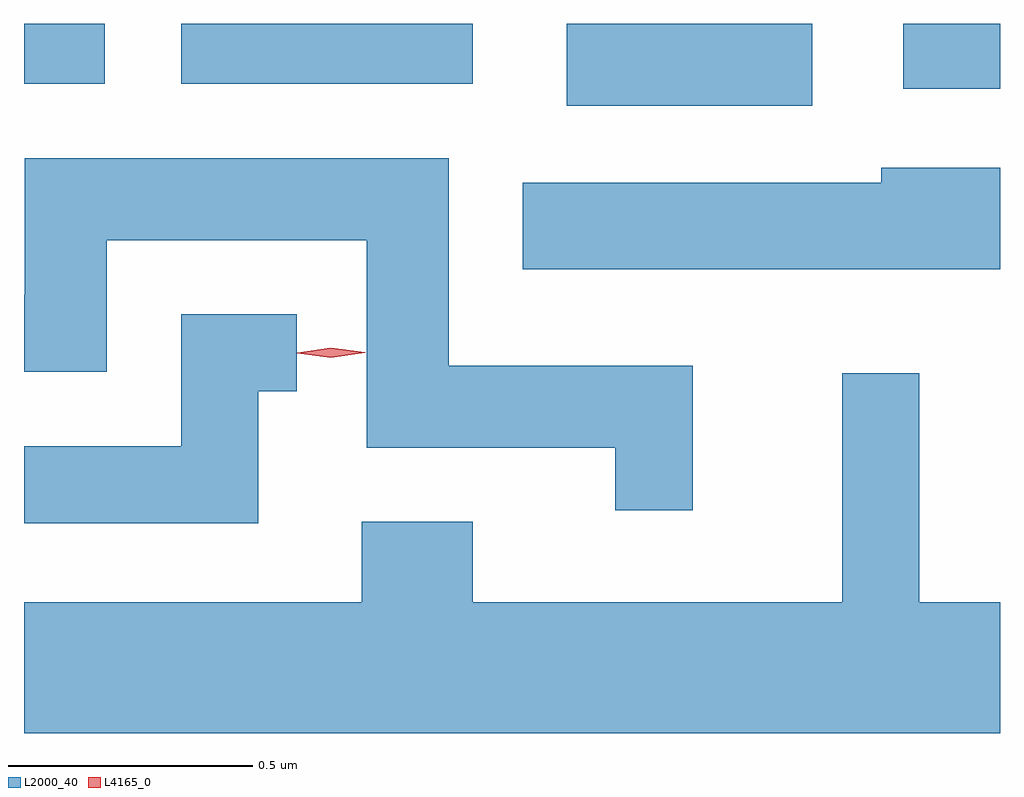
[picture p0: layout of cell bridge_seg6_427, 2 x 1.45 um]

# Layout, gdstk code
import gdstk
lib = gdstk.Library(unit=1e-6, precision=1e-09)
def R(c, l, rs):  # rectangles x0, y0, x1, y1
    for r in rs: c.add(gdstk.rectangle(r[:2], r[2:], *l))
def P(c, l, *ps):  # polygons
    for p in ps: c.add(gdstk.Polygon(p, *l))
L2000_40 = (2000, 40)
L4165_0 = (4165, 0)

bridge_seg6_427 = lib.new_cell('bridge_seg6_427')
R(bridge_seg6_427, L2000_40, [(930.941,1666.761,931.444,1666.929), (931.631,1666.796,931.829,1666.929), (929.829,1666.806,929.994,1666.929), (930.151,1666.806,930.749,1666.929)])
P(bridge_seg6_427, L2000_40, [(931.199,1666.229),(930.699,1666.229),(930.699,1666.654),(929.831,1666.654),(929.831,1666.374),(929.829,1666.374),(929.829,1666.216),(929.999,1666.216),(929.999,1666.486),(930.531,1666.486),(930.531,1666.061),(931.041,1666.061),(931.041,1665.933),(931.199,1665.933)],
  [(931.829,1666.634),(931.586,1666.634),(931.586,1666.604),(930.851,1666.604),(930.851,1666.426),(931.829,1666.426)],
  [(930.309,1666.176),(930.388,1666.176),(930.388,1666.334),(930.151,1666.334),(930.151,1666.064),(929.829,1666.064),(929.829,1665.906),(930.309,1665.906)],
  [(931.829,1665.744),(931.664,1665.744),(931.664,1666.213),(931.506,1666.213),(931.506,1665.744),(930.749,1665.744),(930.749,1665.909),(930.521,1665.909),(930.521,1665.744),(929.829,1665.744),(929.829,1665.476),(931.829,1665.476)])
P(bridge_seg6_427, L4165_0, [(930.458,1666.245),(930.389,1666.254),(930.389,1666.255),(930.389,1666.255),(930.458,1666.265),(930.528,1666.256),(930.528,1666.256),(930.528,1666.255)])

lib.write_gds('bridge_seg6_427.gds')
